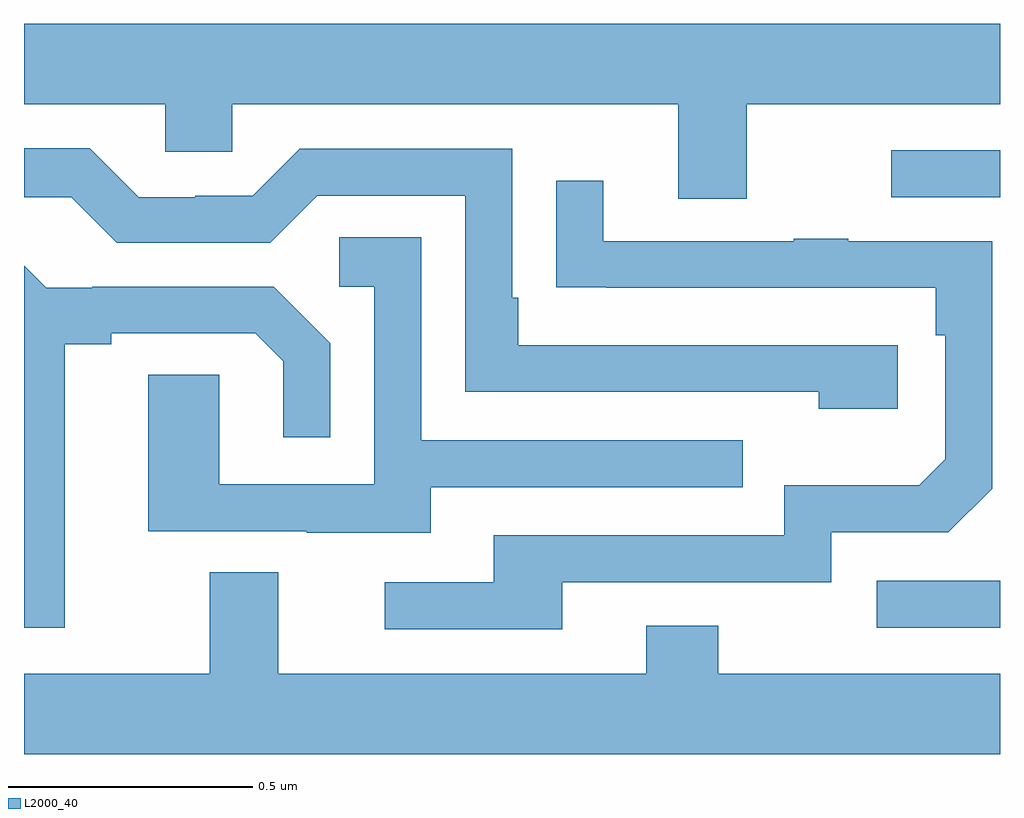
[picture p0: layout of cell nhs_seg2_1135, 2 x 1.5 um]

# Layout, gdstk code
import gdstk
lib = gdstk.Library(unit=1e-6, precision=1e-09)
def R(c, l, rs):  # rectangles x0, y0, x1, y1
    for r in rs: c.add(gdstk.rectangle(r[:2], r[2:], *l))
def P(c, l, *ps):  # polygons
    for p in ps: c.add(gdstk.Polygon(p, *l))
L2000_40 = (2000, 40)

nhs_seg2_1135 = lib.new_cell('nhs_seg2_1135')
R(nhs_seg2_1135, L2000_40, [(126.747,593.283,127,593.379), (126.777,594.165,127,594.261)])
P(nhs_seg2_1135, L2000_40, [(126.481,594.356),(127,594.356),(127,594.52),(125,594.52),(125,594.356),(125.289,594.356),(125.289,594.258),(125.427,594.258),(125.427,594.356),(126.341,594.356),(126.341,594.162),(126.481,594.162)],
  [(126.79,593.862),(126.013,593.862),(126.013,593.959),(126,593.959),(126,594.264),(125.565,594.264),(125.469,594.168),(125.351,594.168),(125.351,594.165),(125.235,594.165),(125.135,594.265),(125,594.265),(125,594.165),(125.097,594.165),(125.19,594.072),(125.505,594.072),(125.601,594.168),(125.904,594.168),(125.904,593.766),(126.629,593.766),(126.629,593.732),(126.79,593.732)],
  [(126.103,593.376),(126.654,593.376),(126.654,593.478),(126.894,593.478),(126.984,593.568),(126.984,594.075),(126.689,594.075),(126.689,594.08),(126.577,594.08),(126.577,594.075),(126.187,594.075),(126.187,594.199),(126.091,594.199),(126.091,593.98),(126.193,593.98),(126.193,593.979),(126.868,593.979),(126.868,593.882),(126.888,593.882),(126.888,593.628),(126.835,593.575),(126.558,593.575),(126.558,593.472),(125.963,593.472),(125.963,593.376),(125.739,593.376),(125.739,593.28),(126.103,593.28)],
  [(125.833,593.571),(126.473,593.571),(126.473,593.667),(125.814,593.667),(125.814,594.083),(125.646,594.083),(125.646,593.982),(125.718,593.982),(125.718,593.577),(125.4,593.577),(125.4,593.801),(125.255,593.801),(125.255,593.481),(125.579,593.481),(125.579,593.477),(125.833,593.477)],
  [(125.083,593.864),(125.179,593.864),(125.179,593.886),(125.474,593.886),(125.531,593.829),(125.531,593.673),(125.628,593.673),(125.628,593.866),(125.512,593.982),(125.14,593.982),(125.14,593.979),(125.046,593.979),(125,594.025),(125,593.283),(125.083,593.283)],
  [(127,593.188),(126.423,593.188),(126.423,593.287),(126.275,593.287),(126.275,593.188),(125.521,593.188),(125.521,593.396),(125.381,593.396),(125.381,593.188),(125,593.188),(125,593.024),(127,593.024)])

lib.write_gds('nhs_seg2_1135.gds')
